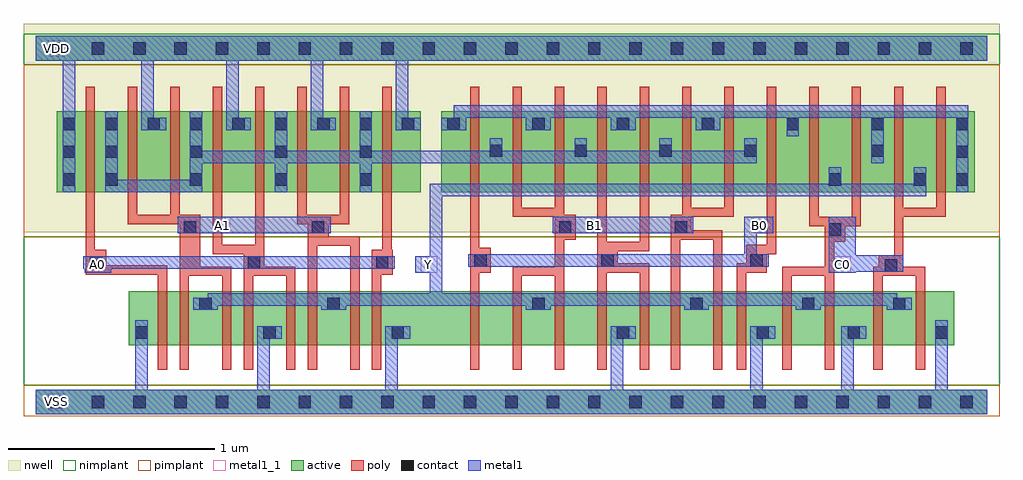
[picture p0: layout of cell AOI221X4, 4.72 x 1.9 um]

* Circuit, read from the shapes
.subckt AOI221X4 A0 A1 B0 B1 C0 VDD VSS Y
M1 n1 A0 VSS VSS nfet w=0.26u l=0.045u
M2 Y A1 n1 VSS nfet w=0.26u l=0.045u
M3 n2 A1 Y VSS nfet w=0.26u l=0.045u
M4 VSS A0 n2 VSS nfet w=0.26u l=0.045u
M5 n3 A0 VSS VSS nfet w=0.26u l=0.045u
M6 Y A1 n3 VSS nfet w=0.26u l=0.045u
M7 n4 A1 Y VSS nfet w=0.26u l=0.045u
M8 VSS A0 n4 VSS nfet w=0.26u l=0.045u
M9 n5 B0 VSS VSS nfet w=0.26u l=0.045u
M10 Y B1 n5 VSS nfet w=0.26u l=0.045u
M11 n6 B1 Y VSS nfet w=0.26u l=0.045u
M12 VSS B0 n6 VSS nfet w=0.26u l=0.045u
M13 n7 B0 VSS VSS nfet w=0.26u l=0.045u
M14 Y B1 n7 VSS nfet w=0.26u l=0.045u
M15 n8 B1 Y VSS nfet w=0.26u l=0.045u
M16 VSS B0 n8 VSS nfet w=0.26u l=0.045u
M17 Y C0 VSS VSS nfet w=0.26u l=0.045u m=4
M18 n9 A0 VDD VDD pfet w=0.39u l=0.045u m=4
M19 VDD A1 n9 VDD pfet w=0.39u l=0.045u m=4
M20 n9 B0 n10 VDD pfet w=0.39u l=0.045u m=4
M21 n10 B1 n9 VDD pfet w=0.39u l=0.045u m=4
M22 Y C0 n10 VDD pfet w=0.39u l=0.045u m=4
.ends

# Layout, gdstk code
import gdstk
lib = gdstk.Library(unit=1e-6, precision=5e-10)
def R(c, l, rs):  # rectangles x0, y0, x1, y1
    for r in rs: c.add(gdstk.rectangle(r[:2], r[2:], *l))
def A(c, l, x, y, w, h, nx, ny, dx, dy):  # array of equal rectangles
    R(c, l, [(x+i*dx, y+j*dy, x+i*dx+w, y+j*dy+h) for i in range(nx) for j in range(ny)])
def P(c, l, *ps):  # polygons
    for p in ps: c.add(gdstk.Polygon(p, *l))
active = (1, 0)
nwell = (2, 0)
poly = (3, 0)
nimplant = (4, 0)
pimplant = (5, 0)
contact = (6, 0)
metal1 = (7, 0)
metal1_1 = (7, 1)

aoi221x4 = lib.new_cell('AOI221X4')
R(aoi221x4, active, [(0,-0.06,4.6,0.06), (0.45,0.275,4.44,0.535), (0.1,1.015,1.86,1.405), (1.96,1.015,4.54,1.405), (0,1.65,4.6,1.77)])
R(aoi221x4, nwell, [(-0.06,0.82,4.66,1.83)])
P(aoi221x4, poly, [(0.24,1.525),(0.285,1.525),(0.285,0.735),(0.34,0.735),(0.34,0.66),(0.635,0.66),(0.635,0.155),(0.59,0.155),(0.59,0.615),(0.24,0.615)],
  [(0.445,1.525),(0.49,1.525),(0.49,0.905),(0.65,0.905),(0.65,1.525),(0.695,1.525),(0.695,0.905),(0.795,0.905),(0.795,0.655),(0.945,0.655),(0.945,0.155),(0.9,0.155),(0.9,0.61),(0.74,0.61),(0.74,0.155),(0.695,0.155),(0.695,0.86),(0.445,0.86)],
  [(0.855,1.525),(0.9,1.525),(0.9,0.76),(1.06,0.76),(1.06,1.525),(1.105,1.525),(1.105,0.655),(1.255,0.655),(1.255,0.155),(1.21,0.155),(1.21,0.61),(1.05,0.61),(1.05,0.155),(1.005,0.155),(1.005,0.715),(0.855,0.715)],
  [(1.265,1.525),(1.31,1.525),(1.31,0.905),(1.47,0.905),(1.47,1.525),(1.515,1.525),(1.515,0.86),(1.415,0.86),(1.415,0.8),(1.565,0.8),(1.565,0.155),(1.52,0.155),(1.52,0.755),(1.36,0.755),(1.36,0.155),(1.315,0.155),(1.315,0.86),(1.265,0.86)],
  [(1.675,1.525),(1.72,1.525),(1.72,0.735),(1.725,0.735),(1.725,0.615),(1.67,0.615),(1.67,0.155),(1.625,0.155),(1.625,0.735),(1.675,0.735)],
  [(2.1,1.525),(2.145,1.525),(2.145,0.745),(2.2,0.745),(2.2,0.625),(2.145,0.625),(2.145,0.155),(2.1,0.155)],
  [(2.305,1.525),(2.35,1.525),(2.35,0.94),(2.51,0.94),(2.51,1.525),(2.555,1.525),(2.555,0.905),(2.61,0.905),(2.61,0.785),(2.555,0.785),(2.555,0.155),(2.51,0.155),(2.51,0.61),(2.35,0.61),(2.35,0.155),(2.305,0.155),(2.305,0.655),(2.51,0.655),(2.51,0.895),(2.305,0.895)],
  [(2.715,1.525),(2.76,1.525),(2.76,0.775),(2.92,0.775),(2.92,1.525),(2.965,1.525),(2.965,0.73),(2.815,0.73),(2.815,0.67),(2.965,0.67),(2.965,0.155),(2.92,0.155),(2.92,0.625),(2.76,0.625),(2.76,0.155),(2.715,0.155)],
  [(3.125,1.525),(3.17,1.525),(3.17,0.94),(3.33,0.94),(3.33,1.525),(3.375,1.525),(3.375,0.895),(3.17,0.895),(3.17,0.83),(3.32,0.83),(3.32,0.155),(3.275,0.155),(3.275,0.785),(3.115,0.785),(3.115,0.155),(3.07,0.155),(3.07,0.905),(3.125,0.905)],
  [(3.535,1.525),(3.58,1.525),(3.58,0.715),(3.535,0.715),(3.535,0.625),(3.435,0.625),(3.435,0.155),(3.39,0.155),(3.39,0.67),(3.435,0.67),(3.435,0.76),(3.535,0.76)],
  [(3.74,1.525),(3.785,1.525),(3.785,0.895),(3.945,0.895),(3.945,1.525),(3.99,1.525),(3.99,0.85),(3.915,0.85),(3.915,0.775),(3.86,0.775),(3.86,0.155),(3.815,0.155),(3.815,0.61),(3.655,0.61),(3.655,0.155),(3.61,0.155),(3.61,0.655),(3.815,0.655),(3.815,0.85),(3.74,0.85)],
  [(4.15,1.525),(4.195,1.525),(4.195,0.94),(4.355,0.94),(4.355,1.525),(4.4,1.525),(4.4,0.895),(4.195,0.895),(4.195,0.655),(4.3,0.655),(4.3,0.155),(4.255,0.155),(4.255,0.61),(4.095,0.61),(4.095,0.155),(4.05,0.155),(4.05,0.655),(4.075,0.655),(4.075,0.71),(4.15,0.71)])
R(aoi221x4, nimplant, [(-0.06,0.08,4.66,0.8), (-0.06,1.63,4.66,1.78)])
R(aoi221x4, pimplant, [(-0.06,-0.07,4.66,0.08), (-0.06,0.8,4.66,1.63)])
A(aoi221x4, contact, 0.07, -0.03, 0.06, 0.06, 23, 2, 0.2, 1.71)
A(aoi221x4, contact, 0.48, 0.305, 0.06, 0.06, 3, 1, 0.62, 0)
A(aoi221x4, contact, 0.335, 1.045, 0.06, 0.06, 4, 2, 0.41, 0.135)
A(aoi221x4, contact, 2.195, 1.185, 0.06, 0.06, 4, 1, 0.41, 0)
A(aoi221x4, contact, 0.13, 1.315, 0.06, 0.06, 9, 1, 0.205, 0)
A(aoi221x4, contact, 1.99, 1.315, 0.06, 0.06, 7, 1, 0.41, 0)
R(aoi221x4, contact, [(2.81,0.305,2.87,0.365), (3.485,0.305,3.545,0.365), (3.925,0.305,3.985,0.365), (4.35,0.305,4.41,0.365), (0.79,0.445,0.85,0.505), (1.41,0.445,1.47,0.505), (2.4,0.445,2.46,0.505), (3.165,0.445,3.225,0.505), (3.705,0.445,3.765,0.505), (4.145,0.445,4.205,0.505), (4.105,0.63,4.165,0.69), (0.26,0.645,0.32,0.705), (1.025,0.645,1.085,0.705), (1.645,0.645,1.705,0.705), (2.12,0.655,2.18,0.715), (2.735,0.655,2.795,0.715), (3.455,0.655,3.515,0.715), (3.835,0.805,3.895,0.865), (0.715,0.815,0.775,0.875), (1.335,0.815,1.395,0.875), (2.53,0.815,2.59,0.875), (3.09,0.815,3.15,0.875), (0.13,1.045,0.19,1.105), (3.835,1.045,3.895,1.105), (4.245,1.045,4.305,1.105), (4.45,1.045,4.51,1.105), (0.13,1.18,0.19,1.24), (4.45,1.18,4.51,1.24), (4.04,1.185,4.1,1.245)])
R(aoi221x4, metal1, [(0.685,0.815,1.425,0.895), (2.5,0.815,3.18,0.895)])
P(aoi221x4, metal1, [(0,1.77),(4.6,1.77),(4.6,1.65),(1.8,1.65),(1.8,1.375),(1.86,1.375),(1.86,1.315),(1.74,1.315),(1.74,1.65),(1.39,1.65),(1.39,1.375),(1.45,1.375),(1.45,1.315),(1.33,1.315),(1.33,1.65),(0.98,1.65),(0.98,1.375),(1.04,1.375),(1.04,1.315),(0.92,1.315),(0.92,1.65),(0.57,1.65),(0.57,1.375),(0.63,1.375),(0.63,1.315),(0.51,1.315),(0.51,1.65),(0.19,1.65),(0.19,1.015),(0.13,1.015),(0.13,1.65),(0,1.65)],
  [(0.335,1.405),(0.395,1.405),(0.395,1.075),(0.745,1.075),(0.745,1.405),(0.805,1.405),(0.805,1.215),(1.155,1.215),(1.155,1.405),(1.215,1.405),(1.215,1.215),(1.565,1.215),(1.565,1.405),(1.625,1.405),(1.625,1.215),(2.195,1.215),(2.195,1.275),(2.255,1.275),(2.255,1.215),(2.605,1.215),(2.605,1.275),(2.665,1.275),(2.665,1.215),(3.015,1.215),(3.015,1.275),(3.075,1.275),(3.075,1.215),(3.425,1.215),(3.425,1.275),(3.485,1.275),(3.485,1.155),(1.625,1.155),(1.625,1.015),(1.565,1.015),(1.565,1.155),(1.215,1.155),(1.215,1.015),(1.155,1.015),(1.155,1.155),(0.805,1.155),(0.805,1.015),(0.335,1.015)],
  [(2.02,1.435),(4.51,1.435),(4.51,1.015),(4.45,1.015),(4.45,1.375),(4.1,1.375),(4.1,1.155),(4.04,1.155),(4.04,1.375),(3.69,1.375),(3.69,1.285),(3.63,1.285),(3.63,1.375),(3.31,1.375),(3.31,1.315),(3.19,1.315),(3.19,1.375),(2.9,1.375),(2.9,1.315),(2.78,1.315),(2.78,1.375),(2.49,1.375),(2.49,1.315),(2.37,1.315),(2.37,1.375),(2.08,1.375),(2.08,1.315),(1.96,1.315),(1.96,1.375),(2.02,1.375)],
  [(3.835,1.135),(3.895,1.135),(3.895,1.055),(4.245,1.055),(4.245,1.135),(4.305,1.135),(4.305,0.995),(1.965,0.995),(1.965,0.525),(4.165,0.525),(4.165,0.505),(4.235,0.505),(4.235,0.445),(4.115,0.445),(4.115,0.465),(3.795,0.465),(3.795,0.445),(3.675,0.445),(3.675,0.465),(3.255,0.465),(3.255,0.445),(3.135,0.445),(3.135,0.465),(2.49,0.465),(2.49,0.445),(2.37,0.445),(2.37,0.465),(1.5,0.465),(1.5,0.445),(1.38,0.445),(1.38,0.465),(0.88,0.465),(0.88,0.445),(0.76,0.445),(0.76,0.505),(0.83,0.505),(0.83,0.525),(1.905,0.525),(1.905,0.625),(1.835,0.625),(1.835,0.705),(1.905,0.705),(1.905,1.055),(3.835,1.055)],
  [(3.425,0.895),(3.565,0.895),(3.565,0.815),(3.485,0.815),(3.485,0.715),(3.545,0.715),(3.545,0.655),(2.09,0.655),(2.09,0.715),(3.425,0.715)],
  [(0.23,0.705),(1.735,0.705),(1.735,0.645),(0.365,0.645),(0.365,0.625),(0.235,0.625),(0.235,0.645),(0.23,0.645)],
  [(3.835,0.895),(3.965,0.895),(3.965,0.71),(4.195,0.71),(4.195,0.63),(3.965,0.63),(3.965,0.625),(3.835,0.625)],
  [(0.48,0.395),(0.54,0.395),(0.54,0.06),(1.07,0.06),(1.07,0.365),(1.19,0.365),(1.19,0.305),(1.13,0.305),(1.13,0.06),(1.69,0.06),(1.69,0.365),(1.81,0.365),(1.81,0.305),(1.75,0.305),(1.75,0.06),(2.78,0.06),(2.78,0.365),(2.9,0.365),(2.9,0.305),(2.84,0.305),(2.84,0.06),(3.455,0.06),(3.455,0.365),(3.575,0.365),(3.575,0.305),(3.515,0.305),(3.515,0.06),(3.895,0.06),(3.895,0.365),(4.015,0.365),(4.015,0.305),(3.955,0.305),(3.955,0.06),(4.35,0.06),(4.35,0.395),(4.41,0.395),(4.41,0.06),(4.6,0.06),(4.6,-0.06),(0,-0.06),(0,0.06),(0.48,0.06)])
R(aoi221x4, metal1_1, [(0.06,-0.04,0.14,0.04), (0.26,0.625,0.34,0.705), (1.86,0.625,1.94,0.705), (3.86,0.625,3.94,0.705), (0.86,0.815,0.94,0.895), (2.66,0.815,2.74,0.895), (3.46,0.815,3.54,0.895), (0.06,1.67,0.14,1.75)])
aoi221x4.add(gdstk.Label('Y', (1.9,0.665), layer=7, texttype=1))
aoi221x4.add(gdstk.Label('A1', (0.9,0.855), layer=7, texttype=1))
aoi221x4.add(gdstk.Label('B1', (2.7,0.855), layer=7, texttype=1))
aoi221x4.add(gdstk.Label('A0', (0.3,0.665), layer=7, texttype=1))
aoi221x4.add(gdstk.Label('B0', (3.5,0.855), layer=7, texttype=1))
aoi221x4.add(gdstk.Label('C0', (3.9,0.665), layer=7, texttype=1))
aoi221x4.add(gdstk.Label('VDD', (0.1,1.71), layer=7, texttype=1))
aoi221x4.add(gdstk.Label('VSS', (0.1,0), layer=7, texttype=1))
aoi221x4.add(gdstk.Label('AOI221X4', (0,0), layer=63, texttype=0))

lib.write_gds('AOI221X4.gds')
